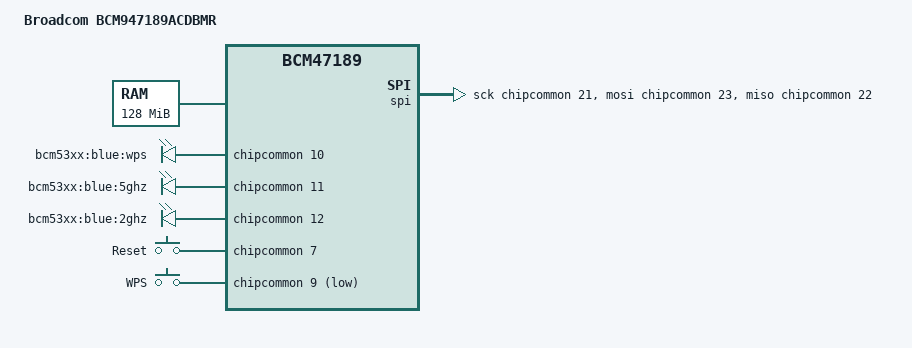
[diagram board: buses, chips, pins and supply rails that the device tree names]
/*
 * Copyright (C) 2017 Broadcom
 * Author: Florian Fainelli <f.fainelli@gmail.com>
 *
 * Licensed under the ISC license.
 */

/dts-v1/;

#include "bcm53573.dtsi"

/ {
	compatible = "brcm,bcm947189acdbmr", "brcm,bcm47189", "brcm,bcm53573";
	model = "Broadcom BCM947189ACDBMR";

	chosen {
		bootargs = "console=ttyS0,115200 earlycon";
	};

	memory {
		reg = <0x00000000 0x08000000>;
	};

	leds {
		compatible = "gpio-leds";

		wps {
			label = "bcm53xx:blue:wps";
			gpios = <&chipcommon 10 GPIO_ACTIVE_HIGH>;
		};

		5ghz {
			label = "bcm53xx:blue:5ghz";
			gpios = <&chipcommon 11 GPIO_ACTIVE_HIGH>;
		};

		2ghz {
			label = "bcm53xx:blue:2ghz";
			gpios = <&chipcommon 12 GPIO_ACTIVE_HIGH>;
		};
	};

	gpio-keys {
		compatible = "gpio-keys";
		#address-cells = <1>;
		#size-cells = <0>;

		restart {
			label = "Reset";
			linux,code = <KEY_RESTART>;
			gpios = <&chipcommon 7 GPIO_ACTIVE_HIGH>;
		};

		wps {
			label = "WPS";
			linux,code = <KEY_WPS_BUTTON>;
			gpios = <&chipcommon 9 GPIO_ACTIVE_LOW>;
		};
	};

	spi {
		compatible = "spi-gpio";
		num-chipselects = <1>;
		gpio-sck = <&chipcommon 21 0>;
		gpio-miso = <&chipcommon 22 0>;
		gpio-mosi = <&chipcommon 23 0>;
		cs-gpios = <&chipcommon 24 0>;
		#address-cells = <1>;
		#size-cells = <0>;

		/* External BCM6802 MoCA chip is connected */
	};
};

&pcie0 {
	ranges = <0x00000000 0 0 0 0 0x00100000>;
	#address-cells = <3>;
	#size-cells = <2>;

	bridge@0,0,0 {
		reg = <0x0000 0 0 0 0>;
		ranges = <0x00000000 0 0 0 0 0 0 0x00100000>;
		#address-cells = <3>;
		#size-cells = <2>;

		wifi@0,1,0 {
			reg = <0x0000 0 0 0 0>;
			ranges = <0x00000000 0 0 0 0x00100000>;
			#address-cells = <1>;
			#size-cells = <1>;
		};
	};
};

&usb2 {
	vcc-gpio = <&chipcommon 8 GPIO_ACTIVE_HIGH>;
};
